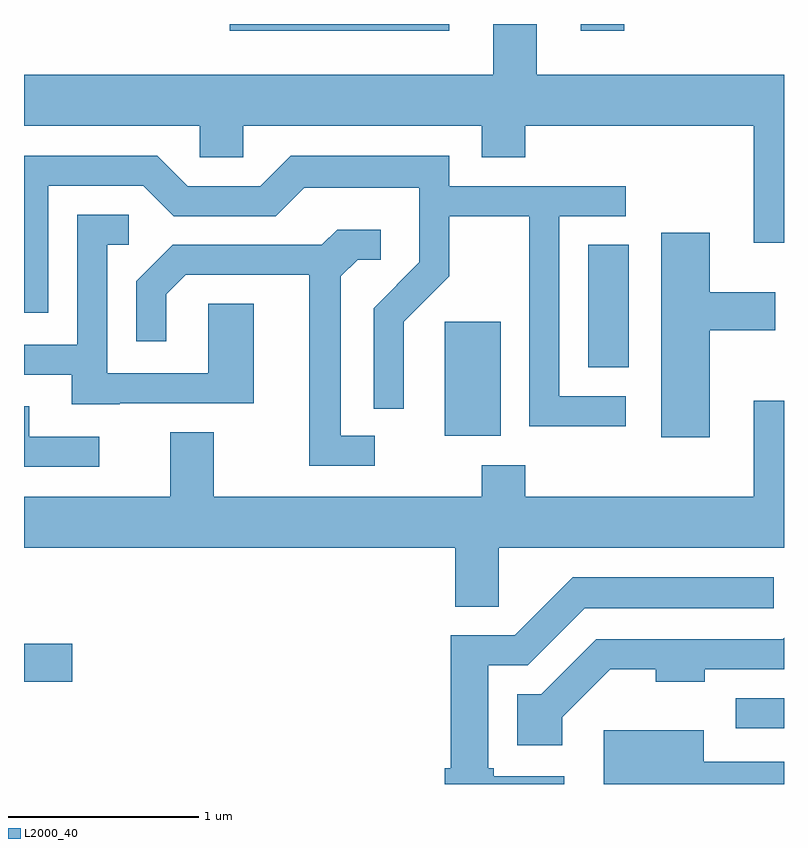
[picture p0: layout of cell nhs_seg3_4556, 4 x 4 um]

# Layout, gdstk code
import gdstk
lib = gdstk.Library(unit=1e-6, precision=1e-09)
def R(c, l, rs):  # rectangles x0, y0, x1, y1
    for r in rs: c.add(gdstk.rectangle(r[:2], r[2:], *l))
def P(c, l, *ps):  # polygons
    for p in ps: c.add(gdstk.Polygon(p, *l))
L2000_40 = (2000, 40)

nhs_seg3_4556 = lib.new_cell('nhs_seg3_4556')
R(nhs_seg3_4556, L2000_40, [(323.358,1116.186,323.611,1116.344), (319.611,1116.431,319.864,1116.629), (321.826,1117.726,322.119,1118.324), (322.581,1118.086,322.794,1118.729), (320.693,1119.856,321.849,1119.892), (322.541,1119.856,322.769,1119.892)])
P(nhs_seg3_4556, L2000_40, [(322.249,1119.356),(323.451,1119.356),(323.451,1118.741),(323.611,1118.741),(323.611,1119.624),(322.309,1119.624),(322.309,1119.892),(322.081,1119.892),(322.081,1119.624),(319.611,1119.624),(319.611,1119.356),(320.536,1119.356),(320.536,1119.191),(320.764,1119.191),(320.764,1119.356),(322.021,1119.356),(322.021,1119.191),(322.249,1119.191)],
  [(322.778,1117.934),(322.429,1117.934),(322.429,1118.881),(322.778,1118.881),(322.778,1119.039),(321.849,1119.039),(321.849,1119.199),(321.014,1119.199),(320.854,1119.039),(320.472,1119.039),(320.312,1119.199),(319.611,1119.199),(319.611,1118.371),(319.739,1118.371),(319.739,1119.041),(320.239,1119.041),(320.399,1118.881),(320.937,1118.881),(321.087,1119.031),(321.691,1119.031),(321.691,1118.637),(321.451,1118.397),(321.451,1117.868),(321.609,1117.868),(321.609,1118.324),(321.849,1118.564),(321.849,1118.881),(322.271,1118.881),(322.271,1117.776),(322.778,1117.776)],
  [(320.115,1117.896),(320.819,1117.896),(320.819,1118.419),(320.581,1118.419),(320.581,1118.054),(320.049,1118.054),(320.049,1118.731),(320.163,1118.731),(320.163,1118.889),(319.891,1118.889),(319.891,1118.204),(319.611,1118.204),(319.611,1118.046),(319.861,1118.046),(319.861,1117.891),(320.115,1117.891)],
  [(321.458,1117.724),(321.279,1117.724),(321.279,1118.564),(321.367,1118.651),(321.488,1118.651),(321.488,1118.809),(321.259,1118.809),(321.179,1118.729),(320.394,1118.729),(320.201,1118.537),(320.201,1118.223),(320.359,1118.223),(320.359,1118.469),(320.462,1118.571),(321.111,1118.571),(321.111,1117.566),(321.458,1117.566)],
  [(323.219,1118.281),(323.564,1118.281),(323.564,1118.479),(323.219,1118.479),(323.219,1118.794),(322.966,1118.794),(322.966,1117.716),(323.219,1117.716)],
  [(322.109,1117.136),(323.611,1117.136),(323.611,1117.909),(323.451,1117.909),(323.451,1117.404),(322.249,1117.404),(322.249,1117.569),(322.021,1117.569),(322.021,1117.404),(320.609,1117.404),(320.609,1117.744),(320.381,1117.744),(320.381,1117.404),(319.611,1117.404),(319.611,1117.136),(321.881,1117.136),(321.881,1116.826),(322.109,1116.826)],
  [(320.008,1117.719),(319.639,1117.719),(319.639,1117.879),(319.611,1117.879),(319.611,1117.561),(320.008,1117.561)],
  [(322.454,1115.934),(322.084,1115.934),(322.084,1115.974),(322.054,1115.974),(322.054,1116.516),(322.262,1116.516),(322.562,1116.816),(323.558,1116.816),(323.558,1116.979),(322.499,1116.979),(322.194,1116.674),(321.856,1116.674),(321.856,1115.974),(321.826,1115.974),(321.826,1115.892),(322.454,1115.892)],
  [(322.444,1116.244),(322.697,1116.496),(322.936,1116.496),(322.936,1116.431),(323.194,1116.431),(323.194,1116.496),(323.611,1116.496),(323.611,1116.661),(323.604,1116.654),(322.624,1116.654),(322.334,1116.364),(322.206,1116.364),(322.206,1116.096),(322.444,1116.096)],
  [(323.611,1116.009),(323.189,1116.009),(323.189,1116.174),(322.661,1116.174),(322.661,1115.892),(323.611,1115.892)])

lib.write_gds('nhs_seg3_4556.gds')
